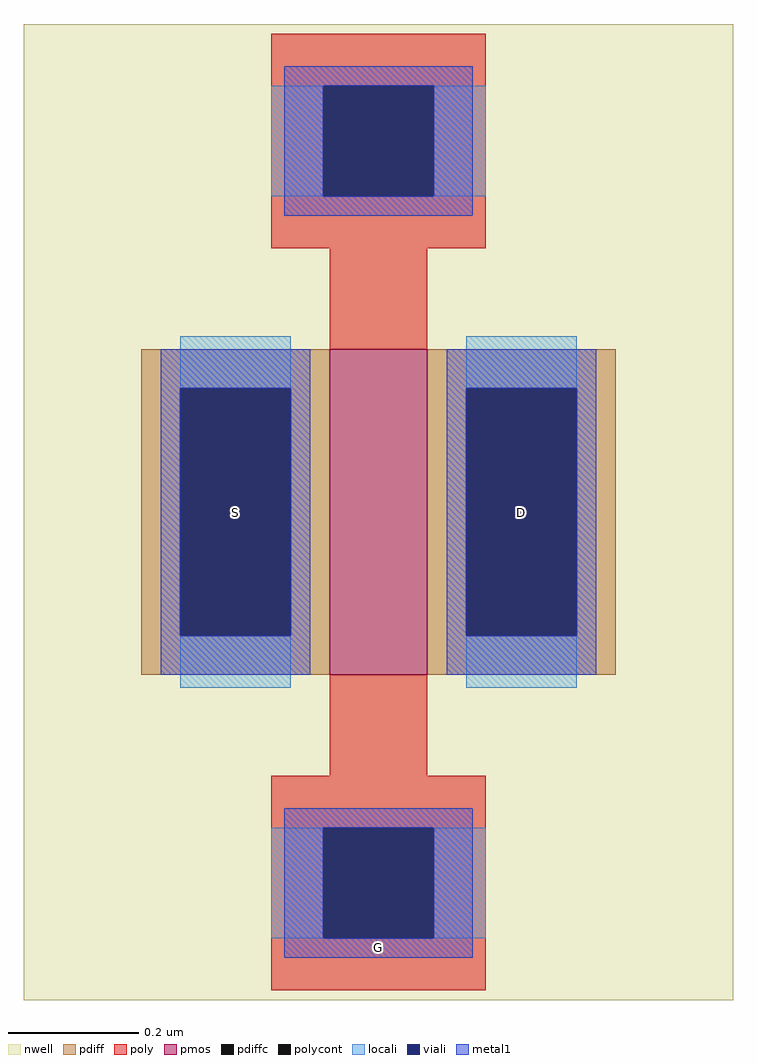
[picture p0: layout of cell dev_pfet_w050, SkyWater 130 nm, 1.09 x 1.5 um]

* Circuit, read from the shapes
.subckt dev_pfet_w050 G S D
XM1 D G S n1 sky130_fd_pr__pfet_01v8 w=0.5 l=0.15
.ends

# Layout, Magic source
magic
tech sky130B
magscale 1 2
<< nwell >>
rect -109 -150 109 150
<< pmos >>
rect -15 -50 15 50
<< pdiff >>
rect -73 38 -15 50
rect -73 -38 -61 38
rect -27 -38 -15 38
rect -73 -50 -15 -38
rect 15 38 73 50
rect 15 -38 27 38
rect 61 -38 73 38
rect 15 -50 73 -38
<< pdiffc >>
rect -61 -38 -27 38
rect 27 -38 61 38
<< poly >>
rect -33 131 33 147
rect -33 97 -17 131
rect 17 97 33 131
rect -33 81 33 97
rect -15 50 15 81
rect -15 -81 15 -50
rect -33 -97 33 -81
rect -33 -131 -17 -97
rect 17 -131 33 -97
rect -33 -147 33 -131
<< polycont >>
rect -17 97 17 131
rect -17 -131 17 -97
<< locali >>
rect -33 97 -17 131
rect 17 97 33 131
rect -61 38 -27 54
rect -61 -54 -27 -38
rect 27 38 61 54
rect 27 -54 61 -38
rect -33 -131 -17 -97
rect 17 -131 33 -97
<< viali >>
rect -17 97 17 131
rect -61 -38 -27 38
rect 27 -38 61 38
rect -17 -131 17 -97
<< metal1 >>
rect -29 131 29 137
rect -29 97 -17 131
rect 17 97 29 131
rect -29 91 29 97
rect -67 38 -21 50
rect -67 -38 -61 38
rect -27 -38 -21 38
rect -67 -50 -21 -38
rect 21 38 67 50
rect 21 -38 27 38
rect 61 -38 67 38
rect 21 -50 67 -38
rect -29 -97 29 -91
rect -29 -131 -17 -97
rect 17 -131 29 -97
rect -29 -137 29 -131
<< labels >>
flabel metal1 s -29 -137 29 -131 0 FreeSans 16 0 0 0 G
port 0 nsew
flabel metal1 s -67 -50 -21 50 0 FreeSans 16 0 0 0 S
port 1 nsew
flabel metal1 s 21 -50 67 50 0 FreeSans 16 0 0 0 D
port 2 nsew
<< end >>
